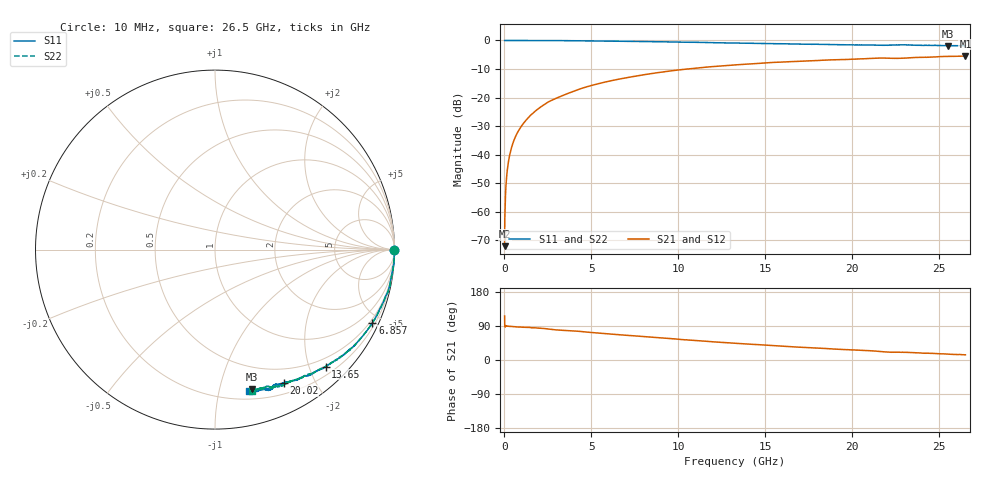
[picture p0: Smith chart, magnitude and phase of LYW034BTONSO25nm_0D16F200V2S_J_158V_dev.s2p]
!Keysight Technologies,N5222B,MY61253708,A.15.00.15
!Date: Wednesday, June 19, 2024 10:15:20
!Correction: S11(C  2-Port  )
!S21(C  2-Port  )
!S12(C  2-Port  )
!S22(C  2-Port  )
!S2P File: Measurements: S11, S21, S12, S22:
# Hz S  RI  R 50
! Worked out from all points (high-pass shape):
!   2651 points, 10 MHz to 26.5 GHz, reference 50 ohm
!   highest |S21| = -5.42 dB at 26.5 GHz (marker M1); lowest = -72.1 dB at 10 MHz (marker M2)
!   |S21| within 3 dB of the highest: 13.58 GHz to end of sweep
!   lowest |S11| = -1.9 dB at 25.5 GHz (marker M3), VSWR 9.18, Z = 14.4 - j63.1 ohm
!   |S11| at or under -10 dB: nowhere
!   |S22| runs from -1.8 to 0.0 dB; largest |S21 - S12| = 0.0058
!   S11 on the Smith chart (normalised r, x): 10 MHz: open; 6.857 GHz: 0.36, -4.50; 13.65 GHz: 0.34, -2.28; 20.02 GHz: 0.32, -1.59; 26.5 GHz: 0.27, -1.23
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1e7  0.9986 -0.00319  -0.000109 0.000224  0.000196 0.000312  0.9984 -0.00157
7.997358e7  0.9999 -0.00572  3.24e-05 0.00258  9.78e-06 0.00261  0.9994 -0.00518
1.499472e8  1 -0.0107  4.32e-05 0.00491  4.64e-05 0.00491  0.9997 -0.00992
1.899321e8  1 -0.0126  6.45e-05 0.0062  7.85e-05 0.0062  0.9999 -0.0117
2.499094e8  0.9996 -0.0169  0.000154 0.00814  0.000121 0.00818  0.9995 -0.016
3.498717e8  0.9997 -0.0236  0.000288 0.0114  0.000267 0.0114  0.9997 -0.0225
4.698264e8  0.9988 -0.0317  0.000498 0.0153  0.000458 0.0153  0.9983 -0.0305
6.29766e8  0.9988 -0.0415  0.000819 0.0205  0.000856 0.0205  0.9987 -0.0402
8.196943e8  0.998 -0.0541  0.0014 0.0265  0.00141 0.0267  0.9977 -0.0526
1.449457e9  0.9911 -0.0965  0.00334 0.0472  0.0034 0.0472  0.9933 -0.0921
2.329125e9  0.9825 -0.1501  0.00961 0.0766  0.00975 0.0768  0.9838 -0.1494
3.218789e9  0.9717 -0.2061  0.0205 0.1027  0.0207 0.1032  0.9729 -0.2037
4.428332e9  0.9442 -0.2778  0.0372 0.1395  0.0374 0.1401  0.9465 -0.2733
6.857415e9  0.877 -0.4074  0.0895 0.1986  0.0905 0.199  0.88 -0.4043
8.846664e9  0.8077 -0.499  0.1415 0.2347  0.1425 0.2349  0.8112 -0.4948
1.3255e10  0.6337 -0.6406  0.2672 0.2605  0.2688 0.2599  0.6409 -0.6364
1.365485e10  0.6164 -0.6513  0.2788 0.2592  0.2795 0.259  0.6256 -0.646
1.767333e10  0.4628 -0.7221  0.3734 0.2346  0.376 0.2327  0.4775 -0.7177
2.002245e10  0.3829 -0.7434  0.4193 0.2103  0.4217 0.2071  0.4011 -0.7416
2.209166e10  0.3271 -0.7568  0.4569 0.1741  0.4581 0.171  0.3261 -0.7622
2.550038e10  0.2076 -0.7763  0.507 0.1384  0.5078 0.1377  0.2329 -0.7786
2.65e10  0.1881 -0.7901  0.5204 0.1271  0.5194 0.1232  0.2065 -0.7885
